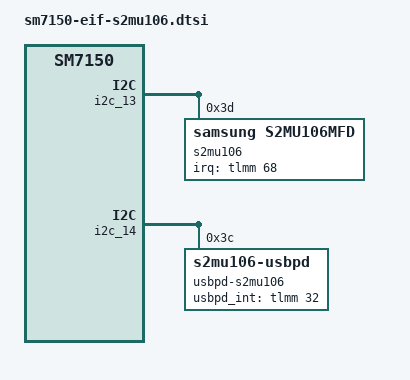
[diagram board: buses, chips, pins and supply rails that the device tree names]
/* r06 */ 
&i2c_13 {
	s2mu106@3D {
		status = "okay";
		compatible = "samsung,s2mu106mfd";
		reg = <0x3D>;
		pinctrl-names = "default";
		pinctrl-0 = <&if_pmic_irq>;
		s2mu106,irq-gpio = <&tlmm 68 0>;
		s2mu106,wakeup;
	};
};

&i2c_14 {
	usbpd-s2mu106@3C {
		compatible = "s2mu106-usbpd";
		status = "okay";
		reg = <0x3C>;
		pinctrl-names = "default";
		pinctrl-0     = <&usbpd_irq>;
		usbpd,usbpd_int = <&tlmm 32 0>;
	};
};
